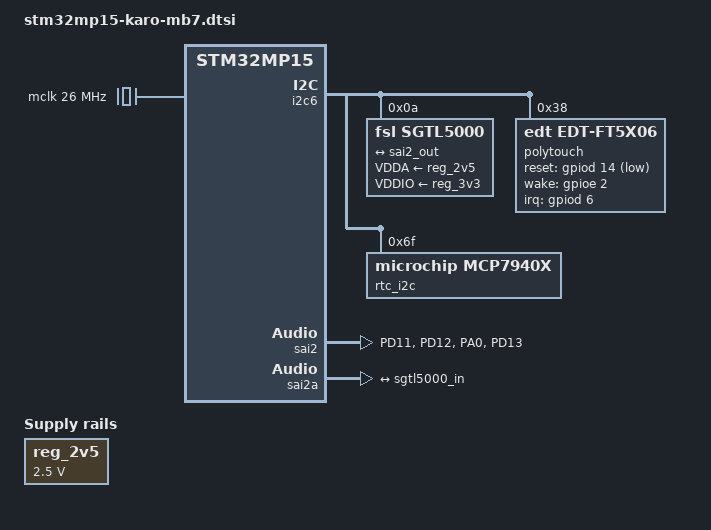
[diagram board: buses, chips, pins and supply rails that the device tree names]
// SPDX-License-Identifier: (GPL-2.0 OR BSD-3-Clause)

/ {
	mclk: codec-mclk {
		compatible = "fixed-clock";
		#clock-cells = <0>;
		clock-frequency = <26000000>;
	};

	reg_2v5: regulator-2v5 {
		compatible = "regulator-fixed";
		regulator-name = "2v5";
		regulator-min-microvolt = <2500000>;
		regulator-max-microvolt = <2500000>;
		regulator-always-on;
	};

	sound {
		compatible = "karo,stm32mp15-sgtl5000",
			     "audio-graph-card";
		label = "TXMP-SGTL5000";
		widgets =
			"Microphone", "Mic Jack",
			"Line", "Line In",
			"Line", "Line Out",
			"Headphone", "Headphone Jack";
		routing =
			"MIC_IN", "Mic Jack",
			"Mic Jack", "Mic Bias",
			"Headphone Jack", "HP_OUT";
		dais = <&sai2a_port>;
		status = "okay";
	};
};

&i2c6 {
	status = "okay";

	sgtl5000: codec@a {
		compatible = "fsl,sgtl5000";
		#sound-dai-cells = <0>;
		reg = <0xa>;
		VDDA-supply = <&reg_2v5>;
		VDDIO-supply = <&reg_3v3>;
		clocks = <&mclk>;
		status = "okay";

		port {
			sgtl5000_in: endpoint {
				remote-endpoint = <&sai2_out>;
			};
		};
	};

	polytouch: touchpanel@38 {
		compatible = "edt,edt-ft5x06";
		reg = <0x38>;
		interrupt-parent = <&gpiod>;
		interrupts = <6 IRQ_TYPE_EDGE_FALLING>;
		reset-gpios = <&gpiod 14 GPIO_ACTIVE_LOW>; /* Pin 149 */
		wake-gpios = <&gpioe 2 GPIO_ACTIVE_HIGH>; /* Pin 152 */
		wakeup-source;
		status = "okay";
	};

	rtc_i2c: rtc@6f {
		compatible = "microchip,mcp7940x";
		reg = <0x6f>;
		status = "okay";
	};
};

&sai2 {
	clocks = <&rcc SAI2>, <&rcc PLL3_Q>, <&rcc PLL3_R>;
	clock-names = "pclk", "x8k", "x11k";
	pinctrl-names = "default", "sleep";
	pinctrl-0 = <&txmp_sai2_pins>;
	pinctrl-1 = <&txmp_sai2_sleep_pins>;
	status = "okay";
};

&sai2a {
	#clock-cells = <0>;
	dma-names = "tx";
	status = "okay";

	sai2a_port: port {
		sai2_out: endpoint {
			remote-endpoint = <&sgtl5000_in>;
			dai-format = "i2s";
			bitclock-master = <&sgtl5000>;
			mclk-fs = <256>;
		};
	};
};

&sdmmc3 {
	/* not usable due to pinswap of SDMMC3_CMD and SDMMC3_D0 */
	status = "disabled";
};

&pinctrl {
	txmp_sai2_pins: txmp-sai2-pins {
		pins1 {
			pinmux = <
				  STM32_PINMUX('D', 11, AF10)	/* TXD */
				  STM32_PINMUX('D', 12, AF10)	/* FS */
			>;
			bias-disable;
			drive-push-pull;
			slew-rate = <0>;
		};

		pins2 {
			pinmux = <
				  STM32_PINMUX('A', 0, AF10)	/* RXD */
				  STM32_PINMUX('D', 13, AF10)	/* SCK */
			>;
		};
	};

	txmp_sai2_sleep_pins: txmp-sai2-sleep-pins {
		pins {
			pinmux = <
				  STM32_PINMUX('A', 0, ANALOG)	/* RXD */
				  STM32_PINMUX('D', 11, ANALOG)	/* TXD */
				  STM32_PINMUX('D', 13, ANALOG)	/* SCK */
				  STM32_PINMUX('D', 12, ANALOG)	/* FS */
			>;
		};
	};
};
